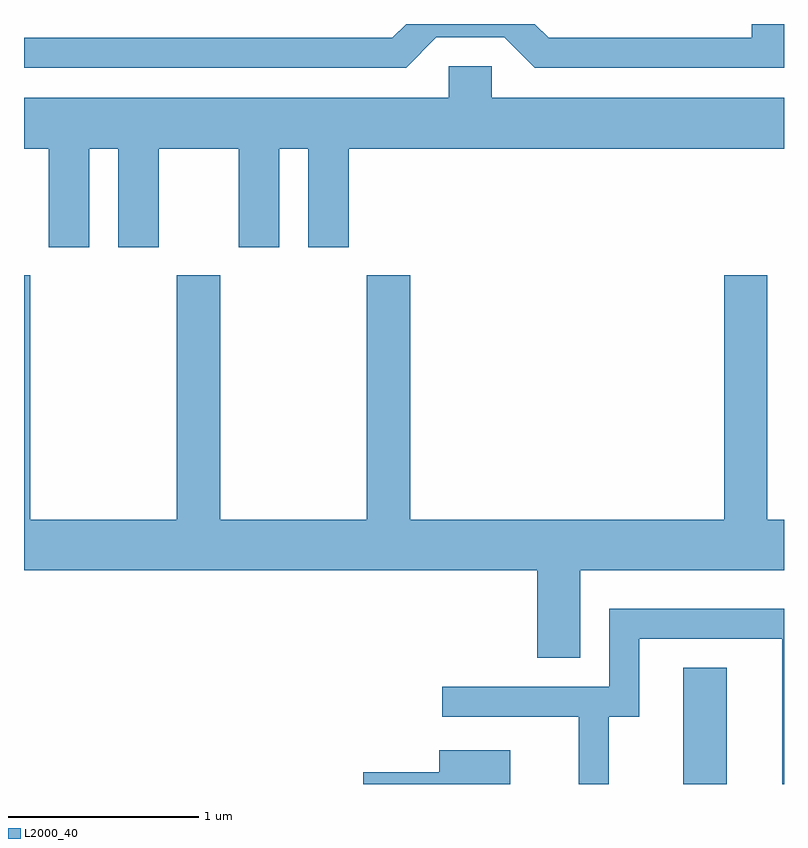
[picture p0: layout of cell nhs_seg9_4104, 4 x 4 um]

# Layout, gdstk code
import gdstk
lib = gdstk.Library(unit=1e-6, precision=1e-09)
def R(c, l, rs):  # rectangles x0, y0, x1, y1
    for r in rs: c.add(gdstk.rectangle(r[:2], r[2:], *l))
def P(c, l, *ps):  # polygons
    for p in ps: c.add(gdstk.Polygon(p, *l))
L2000_40 = (2000, 40)

nhs_seg9_4104 = lib.new_cell('nhs_seg9_4104')
R(nhs_seg9_4104, L2000_40, [(309.081,2028.432,309.309,2029.044)])
P(nhs_seg9_4104, L2000_40, [(307.782,2032.361),(308.139,2032.361),(308.299,2032.201),(309.611,2032.201),(309.611,2032.432),(309.441,2032.432),(309.441,2032.359),(308.372,2032.359),(308.299,2032.432),(307.622,2032.432),(307.549,2032.359),(305.611,2032.359),(305.611,2032.201),(307.622,2032.201)],
  [(305.954,2031.776),(306.106,2031.776),(306.106,2031.256),(306.319,2031.256),(306.319,2031.776),(306.741,2031.776),(306.741,2031.256),(306.954,2031.256),(306.954,2031.776),(307.106,2031.776),(307.106,2031.256),(307.319,2031.256),(307.319,2031.776),(309.611,2031.776),(309.611,2032.044),(308.074,2032.044),(308.074,2032.209),(307.846,2032.209),(307.846,2032.044),(305.611,2032.044),(305.611,2031.776),(305.741,2031.776),(305.741,2031.256),(305.954,2031.256)],
  [(308.539,2029.556),(309.611,2029.556),(309.611,2029.824),(309.524,2029.824),(309.524,2031.109),(309.296,2031.109),(309.296,2029.824),(307.644,2029.824),(307.644,2031.109),(307.416,2031.109),(307.416,2029.824),(306.644,2029.824),(306.644,2031.109),(306.416,2031.109),(306.416,2029.824),(305.644,2029.824),(305.644,2031.109),(305.611,2031.109),(305.611,2029.556),(308.311,2029.556),(308.311,2029.096),(308.539,2029.096)],
  [(308.689,2028.786),(308.849,2028.786),(308.849,2029.196),(309.601,2029.196),(309.601,2028.432),(309.611,2028.432),(309.611,2029.354),(308.691,2029.354),(308.691,2028.944),(307.813,2028.944),(307.813,2028.786),(308.531,2028.786),(308.531,2028.432),(308.689,2028.432)],
  [(308.169,2028.609),(307.796,2028.609),(307.796,2028.494),(307.396,2028.494),(307.396,2028.432),(308.169,2028.432)])

lib.write_gds('nhs_seg9_4104.gds')
